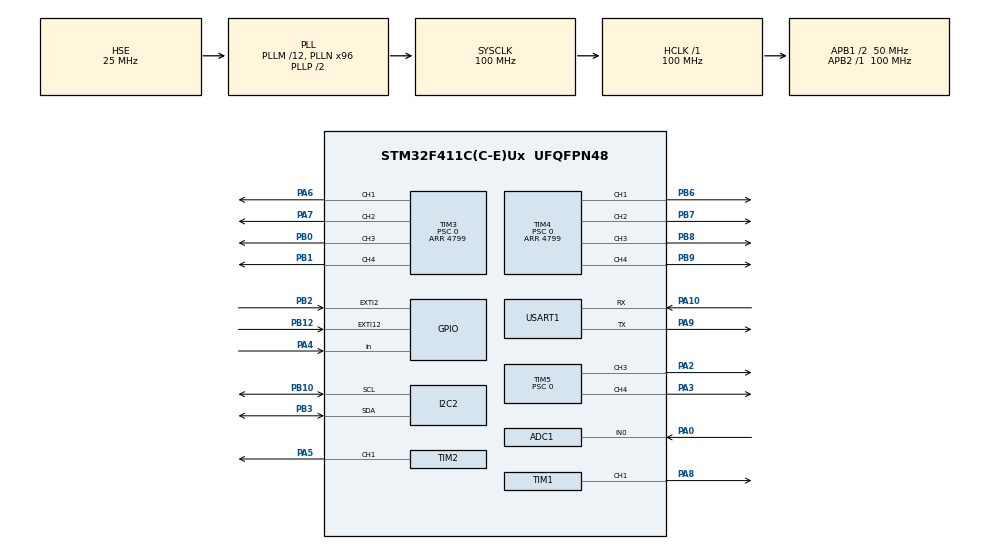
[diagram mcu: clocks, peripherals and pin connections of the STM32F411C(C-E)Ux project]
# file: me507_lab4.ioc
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ADC1.Channel-1\#ChannelRegularConversion=ADC_CHANNEL_0
ADC1.NbrOfConversionFlag=1
ADC1.Rank-1\#ChannelRegularConversion=1
ADC1.SamplingTime-1\#ChannelRegularConversion=ADC_SAMPLETIME_3CYCLES
ADC1.master=1
Mcu.Family=STM32F4
Mcu.Name=STM32F411C(C-E)Ux
Mcu.Package=UFQFPN48
NVIC.ADC_IRQn=true\:0\:0\:false\:false\:true\:true\:true\:true
NVIC.EXTI15_10_IRQn=true\:0\:0\:false\:false\:true\:true\:true\:true
NVIC.EXTI2_IRQn=true\:0\:0\:false\:false\:true\:true\:true\:true
NVIC.I2C2_EV_IRQn=true\:0\:0\:false\:false\:true\:true\:true\:true
NVIC.PriorityGroup=NVIC_PRIORITYGROUP_4
NVIC.USART1_IRQn=true\:0\:0\:false\:false\:true\:true\:true\:true
PA0-WKUP.Signal=ADCx_IN0
PA10.Mode=Asynchronous
PA10.Signal=USART1_RX
PA13.Mode=Serial_Wire
PA13.Signal=SYS_JTMS-SWDIO
PA14.Mode=Serial_Wire
PA14.Signal=SYS_JTCK-SWCLK
PA2.Signal=S_TIM5_CH3
PA3.Signal=S_TIM5_CH4
PA4.Signal=GPIO_Input
PA5.Signal=S_TIM2_CH1_ETR
PA6.Signal=S_TIM3_CH1
PA7.Signal=S_TIM3_CH2
PA8.Signal=S_TIM1_CH1
PA9.Mode=Asynchronous
PA9.Signal=USART1_TX
PB0.Signal=S_TIM3_CH3
PB1.Signal=S_TIM3_CH4
PB10.Mode=I2C
PB10.Signal=I2C2_SCL
PB12.GPIO_ModeDefaultEXTI=GPIO_MODE_IT_RISING_FALLING
PB12.GPIO_PuPd=GPIO_PULLUP
PB12.Signal=GPXTI12
PB2.GPIO_ModeDefaultEXTI=GPIO_MODE_IT_RISING_FALLING
PB2.GPIO_PuPd=GPIO_PULLUP
PB2.Signal=GPXTI2
PB3.Mode=I2C
PB3.Signal=I2C2_SDA
PB6.Signal=S_TIM4_CH1
PB7.Signal=S_TIM4_CH2
PB8.Signal=S_TIM4_CH3
PB9.Signal=S_TIM4_CH4
PH0\ -\ OSC_IN.Mode=HSE-External-Oscillator
PH0\ -\ OSC_IN.Signal=RCC_OSC_IN
PH1\ -\ OSC_OUT.Mode=HSE-External-Oscillator
PH1\ -\ OSC_OUT.Signal=RCC_OSC_OUT
ProjectManager.HeapSize=0x200
ProjectManager.StackSize=0x400
ProjectManager.TargetToolchain=STM32CubeIDE
RCC.48MHZClocksFreq_Value=50000000
RCC.AHBFreq_Value=100000000
RCC.APB1CLKDivider=RCC_HCLK_DIV2
RCC.APB1Freq_Value=50000000
RCC.APB1TimFreq_Value=100000000
RCC.APB2Freq_Value=100000000
RCC.APB2TimFreq_Value=100000000
RCC.CortexFreq_Value=100000000
RCC.HCLKFreq_Value=100000000
RCC.HSE_VALUE=25000000
RCC.HSI_VALUE=16000000
RCC.LSE_VALUE=32768
RCC.PLLM=12
RCC.PLLN=96
RCC.PLLSourceVirtual=RCC_PLLSOURCE_HSE
RCC.SYSCLKFreq_VALUE=100000000
RCC.SYSCLKSource=RCC_SYSCLKSOURCE_PLLCLK
RCC.VCOOutputFreq_Value=200000000
SH.ADCx_IN0.0=ADC1_IN0,IN0
SH.S_TIM1_CH1.0=TIM1_CH1,PWM Generation1 CH1
SH.S_TIM2_CH1_ETR.0=TIM2_CH1,PWM Generation1 CH1
SH.S_TIM3_CH1.0=TIM3_CH1,PWM Generation1 CH1
SH.S_TIM3_CH2.0=TIM3_CH2,PWM Generation2 CH2
SH.S_TIM3_CH3.0=TIM3_CH3,PWM Generation3 CH3
SH.S_TIM3_CH4.0=TIM3_CH4,PWM Generation4 CH4
SH.S_TIM4_CH1.0=TIM4_CH1,PWM Generation1 CH1
SH.S_TIM4_CH2.0=TIM4_CH2,PWM Generation2 CH2
SH.S_TIM4_CH3.0=TIM4_CH3,PWM Generation3 CH3
SH.S_TIM4_CH4.0=TIM4_CH4,PWM Generation4 CH4
SH.S_TIM5_CH3.0=TIM5_CH3,PWM Generation3 CH3
SH.S_TIM5_CH4.0=TIM5_CH4,PWM Generation4 CH4
TIM1.Channel-PWM\ Generation1\ CH1=TIM_CHANNEL_1
TIM1.Period=200
TIM1.Prescaler=10000
TIM2.Channel-PWM\ Generation1\ CH1=TIM_CHANNEL_1
TIM2.Period=200
TIM2.Prescaler=10000
TIM3.Channel-PWM\ Generation1\ CH1=TIM_CHANNEL_1
TIM3.Channel-PWM\ Generation2\ CH2=TIM_CHANNEL_2
TIM3.Channel-PWM\ Generation3\ CH3=TIM_CHANNEL_3
TIM3.Channel-PWM\ Generation4\ CH4=TIM_CHANNEL_4
TIM3.Period=4799
TIM3.Prescaler=0
TIM4.Channel-PWM\ Generation1\ CH1=TIM_CHANNEL_1
TIM4.Channel-PWM\ Generation2\ CH2=TIM_CHANNEL_2
TIM4.Channel-PWM\ Generation3\ CH3=TIM_CHANNEL_3
TIM4.Channel-PWM\ Generation4\ CH4=TIM_CHANNEL_4
TIM4.Period=4799
TIM4.Prescaler=0
TIM5.Channel-PWM\ Generation3\ CH3=TIM_CHANNEL_3
TIM5.Channel-PWM\ Generation4\ CH4=TIM_CHANNEL_4
TIM5.Period=4799
TIM5.Prescaler=0
USART1.VirtualMode=VM_ASYNC
VP_TIM2_VS_ClockSourceINT.Mode=Internal
board=custom

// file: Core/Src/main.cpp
/* USER CODE BEGIN Header */
/**
 ******************************************************************************
 * @file           : main.c
 * @brief          : Main program body
 ******************************************************************************
 * @attention
 *
 * Copyright (c) 2023 STMicroelectronics.
 * All rights reserved.
 *
 * This software is licensed under terms that can be found in the LICENSE file
 * in the root directory of this software component.
 * If no LICENSE file comes with this software, it is provided AS-IS.
 *
 ******************************************************************************
 */
/* USER CODE END Header */
#include "main.h"

/* USER CODE BEGIN Includes */
#include "motor_driver.h"
#include "servo_driver.h"
#include <stdio.h>
#include <stdlib.h>
#include <string.h>
#include <string>

/* USER CODE END Includes */

ADC_HandleTypeDef hadc1;

I2C_HandleTypeDef hi2c2;

TIM_HandleTypeDef htim1;
TIM_HandleTypeDef htim2;
TIM_HandleTypeDef htim3;
TIM_HandleTypeDef htim4;
TIM_HandleTypeDef htim5;

UART_HandleTypeDef huart1;

/* USER CODE BEGIN PV */

int state = 0;
int oldstate = 0;

motor_driver driver1 = motor_driver(&htim5, TIM_CHANNEL_3, TIM_CHANNEL_4, 0, 0);
motor_driver driver2 = motor_driver(&htim3, TIM_CHANNEL_1, TIM_CHANNEL_2, 0, 1);
motor_driver driver3 = motor_driver(&htim3, TIM_CHANNEL_3, TIM_CHANNEL_4, 0, 0);
motor_driver driver4 = motor_driver(&htim4, TIM_CHANNEL_1, TIM_CHANNEL_2, 0, 0);
motor_driver driver5 = motor_driver(&htim4, TIM_CHANNEL_3, TIM_CHANNEL_4, 0, 0);
servo_driver servo1 = servo_driver(&htim1, TIM_CHANNEL_1);
servo_driver servo2 = servo_driver(&htim2, TIM_CHANNEL_1);

//uint16_t duty_cycle = 4799;
char data;
char msg_buff[100] = {0};
uint8_t buff_idx = 0;
char testbuff[20];

//i2c
uint16_t redValue, greenValue, blueValue;
uint8_t colorData[6];

//adc light sensor
uint16_t adcres = 0;

//Halleffect Sensor
//char halleffsignal[50];
GPIO_PinState pinstate;
/* USER CODE END PV */

void SystemClock_Config(void);
static void MX_GPIO_Init(void);
static void MX_TIM2_Init(void);
static void MX_TIM1_Init(void);
static void MX_USART1_UART_Init(void);
static void MX_ADC1_Init(void);
static void MX_I2C2_Init(void);
static void MX_TIM3_Init(void);
static void MX_TIM4_Init(void);
static void MX_TIM5_Init(void);

/* USER CODE BEGIN 0 */

int getADCsimplified(){
	// Start ADC Conversion
	HAL_ADC_Start(&hadc1);
	// Poll ADC1 Perihperal & TimeOut = 1mSec
	HAL_ADC_PollForConversion(&hadc1, 1);
	// Read The ADC Conversion Result
	adcres = HAL_ADC_GetValue(&hadc1);
	return adcres;
}

void colorSensor_Init(){
	//
	uint8_t configData1 = 0x08 | 0x05;
	uint8_t configData2 = 0x3F;
	uint8_t configData3 = 0x00;
	uint8_t resetData = 0x46;
	//reset
	HAL_I2C_Mem_Write(&hi2c2, 0x88, 0x00, I2C_MEMADD_SIZE_8BIT, &resetData, 1, HAL_MAX_DELAY);

	//config to set all config bits to 0 for correct operating isntructions: RGB mode, high IR correction, no interrupt
	HAL_I2C_Mem_Write(&hi2c2, 0x88, 0x01, I2C_MEMADD_SIZE_8BIT, &configData1,1,HAL_MAX_DELAY );
	HAL_I2C_Mem_Write(&hi2c2, 0x88, 0x02, I2C_MEMADD_SIZE_8BIT, &configData2,1,HAL_MAX_DELAY );
	HAL_I2C_Mem_Write(&hi2c2, 0x88, 0x03, I2C_MEMADD_SIZE_8BIT, &configData3,1,HAL_MAX_DELAY );
}

std::string colorSensor_DetermineColor(){

	    HAL_I2C_Mem_Read(&hi2c2, 0x88, 0x09, I2C_MEMADD_SIZE_8BIT, (uint8_t*)&colorData, 8, HAL_MAX_DELAY);
		//stores byte data into int values used to determine color
		greenValue = (colorData[1] << 8) | colorData[0];
		redValue = (colorData[3] << 8) | colorData[2];
		blueValue = (colorData[5] << 8) | colorData[4];

		/*
		if (blueValue / greenValue > 1.5) {
			return "Blue";
			}
		else if (redValue / greenValue > 2) {
			return "Red";
			}
		else if (redValue/ greenValue < 1 ){
			return "Yellow";
			}
		else if (greenValue / blueValue > 2){
			return "Green";
			}
		else {//((greenValue-redValue)/((greenValue+redValue)/2) < 0.2){
			return "No dominant color";
			}

		*/
		//This algorithm was written by chat GPT to find the max int value.
		int maxValue = std::max(std::max(greenValue, redValue), blueValue);

		if (maxValue == blueValue)
			return "Blue";
		else if (maxValue == greenValue)
			return "Green";
		else if (maxValue == redValue)
			return "Red";
		else
			return "No dominant color";

}

void enableAllMotors(){
	  driver1.enable_driver();
	  driver2.enable_driver();
	  driver3.enable_driver();
	  driver4.enable_driver();
	  driver5.enable_driver();
	  servo1.enable_driver();
	  servo2.enable_driver();
}

void disableAllMotors(){
	  driver1.disable_driver();
	  driver2.disable_driver();
	  driver3.disable_driver();
	  driver4.disable_driver();
	  driver5.disable_driver();
	  servo1.disable_driver();
	  servo2.disable_driver();
}
/* USER CODE END 0 */

int main(void)
{

  /* MCU Configuration--------------------------------------------------------*/

  /* Reset of all peripherals, Initializes the Flash interface and the Systick. */
  HAL_Init();

  /* Configure the system clock */
  SystemClock_Config();

  /* Initialize all configured peripherals */
  MX_GPIO_Init();
  MX_TIM2_Init();
  MX_TIM1_Init();
  MX_USART1_UART_Init();
  MX_ADC1_Init();
  MX_I2C2_Init();
  MX_TIM3_Init();
  MX_TIM4_Init();
  MX_TIM5_Init();

  /* Infinite loop */
  /* USER CODE BEGIN WHILE */
    /*
    HAL_TIM_PWM_Start(&htim1, TIM_CHANNEL_1);
    HAL_TIM_PWM_Start(&htim1, TIM_CHANNEL_2);
    HAL_TIM_PWM_Start(&htim1, TIM_CHANNEL_3);
    HAL_TIM_PWM_Start(&htim1, TIM_CHANNEL_4);

    strcpy(testbuff, "Hello, UART!");
     */

    while (1)
    {
    	//start
    	if (state == 0){

    		//HAL_GPIO_WritePin(GPIOA,GPIO_PIN_0, GPIO_PIN_SET);
    		//HAL_GPIO_WritePin(GPIOA,GPIO_PIN_0, GPIO_PIN_RESET);

    		//interrupt will change the state to 1 to begin the program.

    	}

    	//state 1: listen to UART 1 and pick up balls
    	else if (state ==1){
    		 //the motor drivers get enabled when coming into this state.

    		//checks if the robot is "home"
    		//pinstate = HAL_GPIO_ReadPin(GPIOA, GPIO_PIN_4);
    		//pinstate = GPIO_PIN_RESET;

    		//if there is no light, meaning robot is not on the field
    		//checks the light sensor so that when the robot is off the field, it will go to state 2.
    		//adcres = 500;
    		adcres = getADCsimplified();
    		if (adcres <= 400){
    			state = 2;
    		}
    		//if the robot is at home, state = 0;
    		//else if (pinstate == GPIO_PIN_SET){
			//		state = 0;
			//		disableAllMotors();
		}

    	//state 2: when the robot moves outside of the arena or into trouble, backtrack and then once backtrack is confirmed, go back to state 1
    	else if (state == 2){

    		//drives backwards until the light sensor tells us its back on track
    		driver1.set_direction(1);
    		driver2.set_direction(1);
    		driver1.set_duty_cycle(1700);
    		driver2.set_duty_cycle(1700);

    		//checks the light sensor so that when the robot is back on the field, it will return to state 1.
    		adcres = getADCsimplified();
    		//if there is light, meaning the robot is on the field
    		if (adcres >= 400){
    			state = 1;
    			driver1.set_direction(0);
    			driver2.set_direction(0);
    			driver1.set_duty_cycle(0);
    			driver2.set_duty_cycle(0);
    		}

    	}

    	//state 3: when the robot is done picking up balls, it will move to stage 3, where it will deposit balls into the corral
    	else if (state == 3){
    		//driver3.set_duty_cycle(1200);
    		//driver4.set_duty_cycle(1200);
    		//driver5.set_duty_cycle(1200);

    		std::string color = colorSensor_DetermineColor();
    		if (color == "Blue"){
    			servo1.set_duty_cycle(20);
    			HAL_Delay(1000);
				servo1.set_duty_cycle(10);
    			HAL_Delay(1000);

    		}
    		else if (color == "Green"){

    		}
    		else if (color == "Red"){
    			servo2.set_duty_cycle(20);
    			HAL_Delay(1000);
    			servo2.set_duty_cycle(10);
    			HAL_Delay(1000);

    		}
    		else if (color == "No dominant color"){
    			state = 0;
    			disableAllMotors();
    		}
    	}
      	//state 4 is pause
    	else if (state == 4){

    			//this is pause state
    			//interrupt will change the state of the program.
    			//there is code to disable the motor driver
    	}

    	/*
    	// gpio external interrupt test code
    	HAL_GPIO_WritePin(GPIOA,GPIO_PIN_0, GPIO_PIN_SET);
    	HAL_GPIO_WritePin(GPIOA,GPIO_PIN_0, GPIO_PIN_RESET);

    	//servo
    	servo1.set_duty_cycle(20);
    	servo1.set_duty_cycle(10);
    	servo1.set_duty_cycle(15);
    	//i2c
    	std::string color = colorSensor_DetermineColor();

    	// ADC Light Sensor
    	adcres = getADCsimplified();
    	//Hall Effect Sensor
    	pinstate = HAL_GPIO_ReadPin(GPIOA, GPIO_PIN_4);
    	if (pinstate == GPIO_PIN_SET){
    		sprintf(halleffsignal, "Pin is High \r\n");
    	}
    	else if (pinstate == GPIO_PIN_RESET){
    		sprintf(halleffsignal,"Pin is Low \r\n");
    	}
    	HAL_UART_Transmit(&huart2, (uint8_t*)&halleffsignal,strlen(halleffsignal) , 1000);
    	HAL_Delay(1000);

        // forward
        __HAL_TIM_SET_COMPARE(&htim1, TIM_CHANNEL_1, duty_cycle);
        __HAL_TIM_SET_COMPARE(&htim1, TIM_CHANNEL_2, 0);
        __HAL_TIM_SET_COMPARE(&htim1, TIM_CHANNEL_3, duty_cycle);
        __HAL_TIM_SET_COMPARE(&htim1, TIM_CHANNEL_4, 0);
        HAL_Delay(2000);

        // stop
        __HAL_TIM_SET_COMPARE(&htim1, TIM_CHANNEL_1, 0);
        __HAL_TIM_SET_COMPARE(&htim1, TIM_CHANNEL_2, 0);
        __HAL_TIM_SET_COMPARE(&htim1, TIM_CHANNEL_3, 0);
        __HAL_TIM_SET_COMPARE(&htim1, TIM_CHANNEL_4, 0);
        HAL_Delay(2000);

        // reverse
        __HAL_TIM_SET_COMPARE(&htim1, TIM_CHANNEL_1, 0);
        __HAL_TIM_SET_COMPARE(&htim1, TIM_CHANNEL_2, duty_cycle);
        __HAL_TIM_SET_COMPARE(&htim1, TIM_CHANNEL_3, 0);
        __HAL_TIM_SET_COMPARE(&htim1, TIM_CHANNEL_4, duty_cycle);
        HAL_Delay(2000);
         */

        /*
        set_duty_cycle(&driver1, duty_cycle);
        set_duty_cycle(&driver2, duty_cycle);
        HAL_Delay(10);
         */

    /* USER CODE END WHILE */

    }
}

void SystemClock_Config(void)
{
  RCC_OscInitTypeDef RCC_OscInitStruct = {0};
  RCC_ClkInitTypeDef RCC_ClkInitStruct = {0};

  /** Configure the main internal regulator output voltage
  */
  __HAL_RCC_PWR_CLK_ENABLE();
  __HAL_PWR_VOLTAGESCALING_CONFIG(PWR_REGULATOR_VOLTAGE_SCALE1);

  /** Initializes the RCC Oscillators according to the specified parameters
  * in the RCC_OscInitTypeDef structure.
  */
  RCC_OscInitStruct.OscillatorType = RCC_OSCILLATORTYPE_HSE;
  RCC_OscInitStruct.HSEState = RCC_HSE_ON;
  RCC_OscInitStruct.PLL.PLLState = RCC_PLL_ON;
  RCC_OscInitStruct.PLL.PLLSource = RCC_PLLSOURCE_HSE;
  RCC_OscInitStruct.PLL.PLLM = 12;
  RCC_OscInitStruct.PLL.PLLN = 96;
  RCC_OscInitStruct.PLL.PLLP = RCC_PLLP_DIV2;
  RCC_OscInitStruct.PLL.PLLQ = 4;
  if (HAL_RCC_OscConfig(&RCC_OscInitStruct) != HAL_OK)
  {
    Error_Handler();
  }

  /** Initializes the CPU, AHB and APB buses clocks
  */
  RCC_ClkInitStruct.ClockType = RCC_CLOCKTYPE_HCLK|RCC_CLOCKTYPE_SYSCLK
                              |RCC_CLOCKTYPE_PCLK1|RCC_CLOCKTYPE_PCLK2;
  RCC_ClkInitStruct.SYSCLKSource = RCC_SYSCLKSOURCE_PLLCLK;
  RCC_ClkInitStruct.AHBCLKDivider = RCC_SYSCLK_DIV1;
  RCC_ClkInitStruct.APB1CLKDivider = RCC_HCLK_DIV2;
  RCC_ClkInitStruct.APB2CLKDivider = RCC_HCLK_DIV1;

  if (HAL_RCC_ClockConfig(&RCC_ClkInitStruct, FLASH_LATENCY_3) != HAL_OK)
  {
    Error_Handler();
  }
}

static void MX_ADC1_Init(void)
{

  ADC_ChannelConfTypeDef sConfig = {0};

  /** Configure the global features of the ADC (Clock, Resolution, Data Alignment and number of conversion)
  */
  hadc1.Instance = ADC1;
  hadc1.Init.ClockPrescaler = ADC_CLOCK_SYNC_PCLK_DIV4;
  hadc1.Init.Resolution = ADC_RESOLUTION_12B;
  hadc1.Init.ScanConvMode = DISABLE;
  hadc1.Init.ContinuousConvMode = DISABLE;
  hadc1.Init.DiscontinuousConvMode = DISABLE;
  hadc1.Init.ExternalTrigConvEdge = ADC_EXTERNALTRIGCONVEDGE_NONE;
  hadc1.Init.ExternalTrigConv = ADC_SOFTWARE_START;
  hadc1.Init.DataAlign = ADC_DATAALIGN_RIGHT;
  hadc1.Init.NbrOfConversion = 1;
  hadc1.Init.DMAContinuousRequests = DISABLE;
  hadc1.Init.EOCSelection = ADC_EOC_SINGLE_CONV;
  if (HAL_ADC_Init(&hadc1) != HAL_OK)
  {
    Error_Handler();
  }

  /** Configure for the selected ADC regular channel its corresponding rank in the sequencer and its sample time.
  */
  sConfig.Channel = ADC_CHANNEL_0;
  sConfig.Rank = 1;
  sConfig.SamplingTime = ADC_SAMPLETIME_3CYCLES;
  if (HAL_ADC_ConfigChannel(&hadc1, &sConfig) != HAL_OK)
  {
    Error_Handler();
  }

}

static void MX_I2C2_Init(void)
{

  hi2c2.Instance = I2C2;
  hi2c2.Init.ClockSpeed = 100000;
  hi2c2.Init.DutyCycle = I2C_DUTYCYCLE_2;
  hi2c2.Init.OwnAddress1 = 0;
  hi2c2.Init.AddressingMode = I2C_ADDRESSINGMODE_7BIT;
  hi2c2.Init.DualAddressMode = I2C_DUALADDRESS_DISABLE;
  hi2c2.Init.OwnAddress2 = 0;
  hi2c2.Init.GeneralCallMode = I2C_GENERALCALL_DISABLE;
  hi2c2.Init.NoStretchMode = I2C_NOSTRETCH_DISABLE;
  if (HAL_I2C_Init(&hi2c2) != HAL_OK)
  {
    Error_Handler();
  }

}

static void MX_TIM1_Init(void)
{

  TIM_MasterConfigTypeDef sMasterConfig = {0};
  TIM_OC_InitTypeDef sConfigOC = {0};
  TIM_BreakDeadTimeConfigTypeDef sBreakDeadTimeConfig = {0};

  htim1.Instance = TIM1;
  htim1.Init.Prescaler = 10000;
  htim1.Init.CounterMode = TIM_COUNTERMODE_UP;
  htim1.Init.Period = 200;
  htim1.Init.ClockDivision = TIM_CLOCKDIVISION_DIV1;
  htim1.Init.RepetitionCounter = 0;
  htim1.Init.AutoReloadPreload = TIM_AUTORELOAD_PRELOAD_DISABLE;
  if (HAL_TIM_PWM_Init(&htim1) != HAL_OK)
  {
    Error_Handler();
  }
  sMasterConfig.MasterOutputTrigger = TIM_TRGO_RESET;
  sMasterConfig.MasterSlaveMode = TIM_MASTERSLAVEMODE_DISABLE;
  if (HAL_TIMEx_MasterConfigSynchronization(&htim1, &sMasterConfig) != HAL_OK)
  {
    Error_Handler();
  }
  sConfigOC.OCMode = TIM_OCMODE_PWM1;
  sConfigOC.Pulse = 0;
  sConfigOC.OCPolarity = TIM_OCPOLARITY_HIGH;
  sConfigOC.OCNPolarity = TIM_OCNPOLARITY_HIGH;
  sConfigOC.OCFastMode = TIM_OCFAST_DISABLE;
  sConfigOC.OCIdleState = TIM_OCIDLESTATE_RESET;
  sConfigOC.OCNIdleState = TIM_OCNIDLESTATE_RESET;
  if (HAL_TIM_PWM_ConfigChannel(&htim1, &sConfigOC, TIM_CHANNEL_1) != HAL_OK)
  {
    Error_Handler();
  }
  sBreakDeadTimeConfig.OffStateRunMode = TIM_OSSR_DISABLE;
  sBreakDeadTimeConfig.OffStateIDLEMode = TIM_OSSI_DISABLE;
  sBreakDeadTimeConfig.LockLevel = TIM_LOCKLEVEL_OFF;
  sBreakDeadTimeConfig.DeadTime = 0;
  sBreakDeadTimeConfig.BreakState = TIM_BREAK_DISABLE;
  sBreakDeadTimeConfig.BreakPolarity = TIM_BREAKPOLARITY_HIGH;
  sBreakDeadTimeConfig.AutomaticOutput = TIM_AUTOMATICOUTPUT_DISABLE;
  if (HAL_TIMEx_ConfigBreakDeadTime(&htim1, &sBreakDeadTimeConfig) != HAL_OK)
  {
    Error_Handler();
  }
  HAL_TIM_MspPostInit(&htim1);

}

static void MX_TIM2_Init(void)
{

  TIM_ClockConfigTypeDef sClockSourceConfig = {0};
  TIM_MasterConfigTypeDef sMasterConfig = {0};
  TIM_OC_InitTypeDef sConfigOC = {0};

  htim2.Instance = TIM2;
  htim2.Init.Prescaler = 10000;
  htim2.Init.CounterMode = TIM_COUNTERMODE_UP;
  htim2.Init.Period = 200;
  htim2.Init.ClockDivision = TIM_CLOCKDIVISION_DIV1;
  htim2.Init.AutoReloadPreload = TIM_AUTORELOAD_PRELOAD_DISABLE;
  if (HAL_TIM_Base_Init(&htim2) != HAL_OK)
  {
    Error_Handler();
  }
  sClockSourceConfig.ClockSource = TIM_CLOCKSOURCE_INTERNAL;
  if (HAL_TIM_ConfigClockSource(&htim2, &sClockSourceConfig) != HAL_OK)
  {
    Error_Handler();
  }
  if (HAL_TIM_PWM_Init(&htim2) != HAL_OK)
  {
    Error_Handler();
  }
  sMasterConfig.MasterOutputTrigger = TIM_TRGO_RESET;
  sMasterConfig.MasterSlaveMode = TIM_MASTERSLAVEMODE_DISABLE;
  if (HAL_TIMEx_MasterConfigSynchronization(&htim2, &sMasterConfig) != HAL_OK)
  {
    Error_Handler();
  }
  sConfigOC.OCMode = TIM_OCMODE_PWM1;
  sConfigOC.Pulse = 0;
  sConfigOC.OCPolarity = TIM_OCPOLARITY_HIGH;
  sConfigOC.OCFastMode = TIM_OCFAST_DISABLE;
  if (HAL_TIM_PWM_ConfigChannel(&htim2, &sConfigOC, TIM_CHANNEL_1) != HAL_OK)
  {
    Error_Handler();
  }
  HAL_TIM_MspPostInit(&htim2);

}

static void MX_TIM3_Init(void)
{

  TIM_MasterConfigTypeDef sMasterConfig = {0};
  TIM_OC_InitTypeDef sConfigOC = {0};

  htim3.Instance = TIM3;
  htim3.Init.Prescaler = 0;
  htim3.Init.CounterMode = TIM_COUNTERMODE_UP;
  htim3.Init.Period = 4799;
  htim3.Init.ClockDivision = TIM_CLOCKDIVISION_DIV1;
  htim3.Init.AutoReloadPreload = TIM_AUTORELOAD_PRELOAD_DISABLE;
  if (HAL_TIM_PWM_Init(&htim3) != HAL_OK)
  {
    Error_Handler();
  }
  sMasterConfig.MasterOutputTrigger = TIM_TRGO_RESET;
  sMasterConfig.MasterSlaveMode = TIM_MASTERSLAVEMODE_DISABLE;
  if (HAL_TIMEx_MasterConfigSynchronization(&htim3, &sMasterConfig) != HAL_OK)
  {
    Error_Handler();
  }
  sConfigOC.OCMode = TIM_OCMODE_PWM1;
  sConfigOC.Pulse = 0;
  sConfigOC.OCPolarity = TIM_OCPOLARITY_HIGH;
  sConfigOC.OCFastMode = TIM_OCFAST_DISABLE;
  if (HAL_TIM_PWM_ConfigChannel(&htim3, &sConfigOC, TIM_CHANNEL_1) != HAL_OK)
  {
    Error_Handler();
  }
  if (HAL_TIM_PWM_ConfigChannel(&htim3, &sConfigOC, TIM_CHANNEL_2) != HAL_OK)
  {
    Error_Handler();
  }
  if (HAL_TIM_PWM_ConfigChannel(&htim3, &sConfigOC, TIM_CHANNEL_3) != HAL_OK)
  {
    Error_Handler();
  }
  if (HAL_TIM_PWM_ConfigChannel(&htim3, &sConfigOC, TIM_CHANNEL_4) != HAL_OK)
  {
    Error_Handler();
  }
  HAL_TIM_MspPostInit(&htim3);

}

static void MX_TIM4_Init(void)
{

  TIM_MasterConfigTypeDef sMasterConfig = {0};
  TIM_OC_InitTypeDef sConfigOC = {0};

  htim4.Instance = TIM4;
  htim4.Init.Prescaler = 0;
  htim4.Init.CounterMode = TIM_COUNTERMODE_UP;
  htim4.Init.Period = 4799;
  htim4.Init.ClockDivision = TIM_CLOCKDIVISION_DIV1;
  htim4.Init.AutoReloadPreload = TIM_AUTORELOAD_PRELOAD_DISABLE;
  if (HAL_TIM_PWM_Init(&htim4) != HAL_OK)
  {
    Error_Handler();
  }
  sMasterConfig.MasterOutputTrigger = TIM_TRGO_RESET;
  sMasterConfig.MasterSlaveMode = TIM_MASTERSLAVEMODE_DISABLE;
  if (HAL_TIMEx_MasterConfigSynchronization(&htim4, &sMasterConfig) != HAL_OK)
  {
    Error_Handler();
  }
  sConfigOC.OCMode = TIM_OCMODE_PWM1;
  sConfigOC.Pulse = 0;
  sConfigOC.OCPolarity = TIM_OCPOLARITY_HIGH;
  sConfigOC.OCFastMode = TIM_OCFAST_DISABLE;
  if (HAL_TIM_PWM_ConfigChannel(&htim4, &sConfigOC, TIM_CHANNEL_1) != HAL_OK)
  {
    Error_Handler();
  }
  if (HAL_TIM_PWM_ConfigChannel(&htim4, &sConfigOC, TIM_CHANNEL_2) != HAL_OK)
  {
    Error_Handler();
  }
  if (HAL_TIM_PWM_ConfigChannel(&htim4, &sConfigOC, TIM_CHANNEL_3) != HAL_OK)
  {
    Error_Handler();
  }
  if (HAL_TIM_PWM_ConfigChannel(&htim4, &sConfigOC, TIM_CHANNEL_4) != HAL_OK)
  {
    Error_Handler();
  }
  HAL_TIM_MspPostInit(&htim4);

}

static void MX_TIM5_Init(void)
{

  TIM_MasterConfigTypeDef sMasterConfig = {0};
  TIM_OC_InitTypeDef sConfigOC = {0};

  htim5.Instance = TIM5;
  htim5.Init.Prescaler = 0;
  htim5.Init.CounterMode = TIM_COUNTERMODE_UP;
  htim5.Init.Period = 4799;
  htim5.Init.ClockDivision = TIM_CLOCKDIVISION_DIV1;
  htim5.Init.AutoReloadPreload = TIM_AUTORELOAD_PRELOAD_DISABLE;
  if (HAL_TIM_PWM_Init(&htim5) != HAL_OK)
  {
    Error_Handler();
  }
  sMasterConfig.MasterOutputTrigger = TIM_TRGO_RESET;
  sMasterConfig.MasterSlaveMode = TIM_MASTERSLAVEMODE_DISABLE;
  if (HAL_TIMEx_MasterConfigSynchronization(&htim5, &sMasterConfig) != HAL_OK)
  {
    Error_Handler();
  }
  sConfigOC.OCMode = TIM_OCMODE_PWM1;
  sConfigOC.Pulse = 0;
  sConfigOC.OCPolarity = TIM_OCPOLARITY_HIGH;
  sConfigOC.OCFastMode = TIM_OCFAST_DISABLE;
  if (HAL_TIM_PWM_ConfigChannel(&htim5, &sConfigOC, TIM_CHANNEL_3) != HAL_OK)
  {
    Error_Handler();
  }
  if (HAL_TIM_PWM_ConfigChannel(&htim5, &sConfigOC, TIM_CHANNEL_4) != HAL_OK)
  {
    Error_Handler();
  }
  HAL_TIM_MspPostInit(&htim5);

}

static void MX_USART1_UART_Init(void)
{

  huart1.Instance = USART1;
  huart1.Init.BaudRate = 115200;
  huart1.Init.WordLength = UART_WORDLENGTH_8B;
  huart1.Init.StopBits = UART_STOPBITS_1;
  huart1.Init.Parity = UART_PARITY_NONE;
  huart1.Init.Mode = UART_MODE_TX_RX;
  huart1.Init.HwFlowCtl = UART_HWCONTROL_NONE;
  huart1.Init.OverSampling = UART_OVERSAMPLING_16;
  if (HAL_UART_Init(&huart1) != HAL_OK)
  {
    Error_Handler();
  }

}

static void MX_GPIO_Init(void)
{
  GPIO_InitTypeDef GPIO_InitStruct = {0};

  /* GPIO Ports Clock Enable */
  __HAL_RCC_GPIOH_CLK_ENABLE();
  __HAL_RCC_GPIOA_CLK_ENABLE();
  __HAL_RCC_GPIOB_CLK_ENABLE();

  /*Configure GPIO pin : PA4 */
  GPIO_InitStruct.Pin = GPIO_PIN_4;
  GPIO_InitStruct.Mode = GPIO_MODE_INPUT;
  GPIO_InitStruct.Pull = GPIO_NOPULL;
  HAL_GPIO_Init(GPIOA, &GPIO_InitStruct);

  /*Configure GPIO pins : PB2 PB12 */
  GPIO_InitStruct.Pin = GPIO_PIN_2|GPIO_PIN_12;
  GPIO_InitStruct.Mode = GPIO_MODE_IT_RISING_FALLING;
  GPIO_InitStruct.Pull = GPIO_PULLUP;
  HAL_GPIO_Init(GPIOB, &GPIO_InitStruct);

  /* EXTI interrupt init*/
  HAL_NVIC_SetPriority(EXTI2_IRQn, 0, 0);
  HAL_NVIC_EnableIRQ(EXTI2_IRQn);

  HAL_NVIC_SetPriority(EXTI15_10_IRQn, 0, 0);
  HAL_NVIC_EnableIRQ(EXTI15_10_IRQn);

}

/* USER CODE BEGIN 4 */
void HAL_UART_RxCpltCallback(UART_HandleTypeDef *huart) {
	HAL_UART_Receive_IT(&huart1, (uint8_t*)&data, 1);
    if(huart == &huart1 && state ==1) {
        //HAL_UART_Transmit(&huart2, (uint8_t*)&data, 1, 1000);

        if(data == '\r' && buff_idx >= 4) {
            //check for M
            if(msg_buff[buff_idx - 4] != 'M')
                return;

            // check for n = 1 or 2
            if(!(msg_buff[buff_idx - 3] == '1' || msg_buff[buff_idx - 3] == '2'))
                return;

            // get driver number
            int driver_idx = msg_buff[buff_idx - 3] - '0';

            // get duty cycle
            msg_buff[buff_idx] = 0;
            long dc_initial = strtol(msg_buff + buff_idx - 2, NULL, 16);
            uint8_t direction;
            uint16_t dc;
            if(dc_initial > 0x7f) {
                direction = 1;
                dc_initial = 0x100 - dc_initial;
                dc = (uint16_t)dc_initial * htim5.Init.Period / 128;
            }
            else {
                direction = 0;
                dc = (uint16_t)dc_initial * htim5.Init.Period / 127;
            }

            // update motor driver
            if(driver_idx == 1) {
                driver1.set_direction(direction);
                driver1.set_duty_cycle(dc);
            }
            else {
                driver2.set_direction(direction);
                driver2.set_duty_cycle(dc);
            }

            // reset buff_idx
            buff_idx = 0;

            // send response
            uint16_t size;
            if(direction == 0)
                size = sprintf(msg_buff, "\nMotor %d set to forward at duty cycle %d\r\n", driver_idx, dc);
            else
                size = sprintf(msg_buff, "\nMotor %d set to reverse at duty cycle %d\r\n", driver_idx, dc);
            //HAL_UART_Transmit(&huart2, (uint8_t*)msg_buff, size, 1000);
        }
        else if(buff_idx < 100 ) {
            msg_buff[buff_idx] = data;
            buff_idx++;
        }
    }
}

void HAL_GPIO_EXTI_Callback(uint16_t GPIO_Pin){
	// uses the pause state of the state machine, the oldstate variable remebers the previous state of the state machine and will go back to it once finished
	if (GPIO_Pin == GPIO_PIN_2){
		if (state == 0){
			state = 1;
			//i2c stuff
			//colorSensor_Init();
			//driver enable
			enableAllMotors();
			HAL_UART_Receive_IT(&huart1, (uint8_t*)&data, 1);
		}
		else if (state!= 4 && state != 0){
			oldstate = state;
			state = 4;
			disableAllMotors();
		}
		//if state is 4
		else{
			state = oldstate;
			enableAllMotors();
		}
	}
	else if (GPIO_Pin == GPIO_PIN_12){
		if (state ==1){
			//state = 3;
		}
		else if (state == 3){
			state = 0;
		}
	}

}

/*void HAL_I2C_MasterRxCpltCallback (I2C_HandleTypeDef * hi2c)
{
	if (hi2c == &hi2c2){

	redValue = (colorData[1] << 8) | colorData[0];
	greenValue = (colorData[3] << 8) | colorData[2];
	blueValue = (colorData[5] << 8) | colorData[4];

	HAL_UART_Transmit(&huart2, (uint8_t*)&colorData, 8, HAL_MAX_DELAY);
	HAL_I2C_Master_Receive_IT(&hi2c2, 0x88, colorData, 6);
	}
} */

/* USER CODE END 4 */

void Error_Handler(void)
{
    __disable_irq();
    while (1)
    {
    }
}
